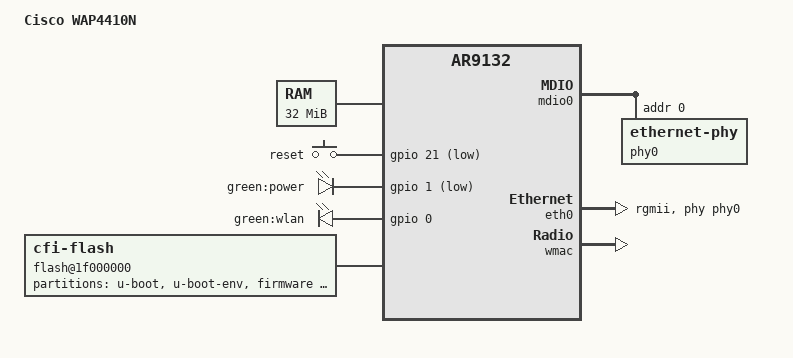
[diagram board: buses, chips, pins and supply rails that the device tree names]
// SPDX-License-Identifier: GPL-2.0-or-later OR MIT

#include "ar9132.dtsi"

#include <dt-bindings/gpio/gpio.h>
#include <dt-bindings/input/input.h>

/ {
	compatible = "cisco,wap4410n", "qca,ar9132";
	model = "Cisco WAP4410N";

	chosen {
		bootargs = "console=ttyS0,115200";
	};

	aliases {
		label-mac-device = &eth0;
		led-boot = &led_power;
		led-failsafe = &led_power;
		led-running = &led_power;
		led-upgrade = &led_power;
	};

	memory@0 {
		device_type = "memory";
		reg = <0x0 0x2000000>;
	};

	keys {
		compatible = "gpio-keys";

		reset {
			label = "reset";
			linux,code = <KEY_RESTART>;
			gpios = <&gpio 21 GPIO_ACTIVE_LOW>;
			debounce-interval = <60>;
		};
	};

	leds {
		compatible = "gpio-leds";

		led_power: power {
			label = "green:power";
			gpios = <&gpio 1 GPIO_ACTIVE_LOW>;
			default-state = "on";
		};

		wlan {
			label = "green:wlan";
			gpios = <&gpio 0 GPIO_ACTIVE_HIGH>;
			linux,default-trigger = "phy0radio";
		};
	};

	flash@1f000000 {
		compatible = "cfi-flash";
		reg = <0x1f000000 0x800000>;
		bank-width = <2>;
		device-width = <1>;

		partitions {
			compatible = "fixed-partitions";
			#address-cells = <1>;
			#size-cells = <1>;

			/*
			 * The stock (Sercomm) U-Boot refuses to boot unless
			 * 0x7dfff8 holds "eRcOmM". This layout overwrites it, so
			 * the instruction at u-boot offset 0x19e08 must be
			 * patched to a nop first (see the 2015 ar71xx port).
			 */
			uboot: partition@0 {
				label = "u-boot";
				reg = <0x000000 0x040000>;
				read-only;
			};

			partition@40000 {
				label = "u-boot-env";
				reg = <0x040000 0x010000>;
				read-only;
			};

			partition@50000 {
				compatible = "denx,uimage";
				label = "firmware";
				reg = <0x050000 0x790000>;
			};

			partition@7e0000 {
				label = "nvram";
				reg = <0x7e0000 0x010000>;
				read-only;
			};

			art: partition@7f0000 {
				label = "art";
				reg = <0x7f0000 0x010000>;
				read-only;
			};
		};
	};
};

&uboot {
	compatible = "nvmem-cells";
	#address-cells = <1>;
	#size-cells = <1>;

	/* Sercomm node-info block at 0x3ff70, MAC at +0x30 */
	macaddr_uboot_3ffa0: macaddr@3ffa0 {
		reg = <0x3ffa0 0x6>;
	};
};

&mdio0 {
	status = "okay";

	phy0: ethernet-phy@0 {
		reg = <0>;
	};
};

&eth0 {
	status = "okay";

	nvmem-cells = <&macaddr_uboot_3ffa0>;
	nvmem-cell-names = "mac-address";

	phy-mode = "rgmii";
	phy-handle = <&phy0>;
};

&wmac {
	status = "okay";

	mtd-cal-data = <&art 0x1000>;
	nvmem-cells = <&macaddr_uboot_3ffa0>;
	nvmem-cell-names = "mac-address";
};
